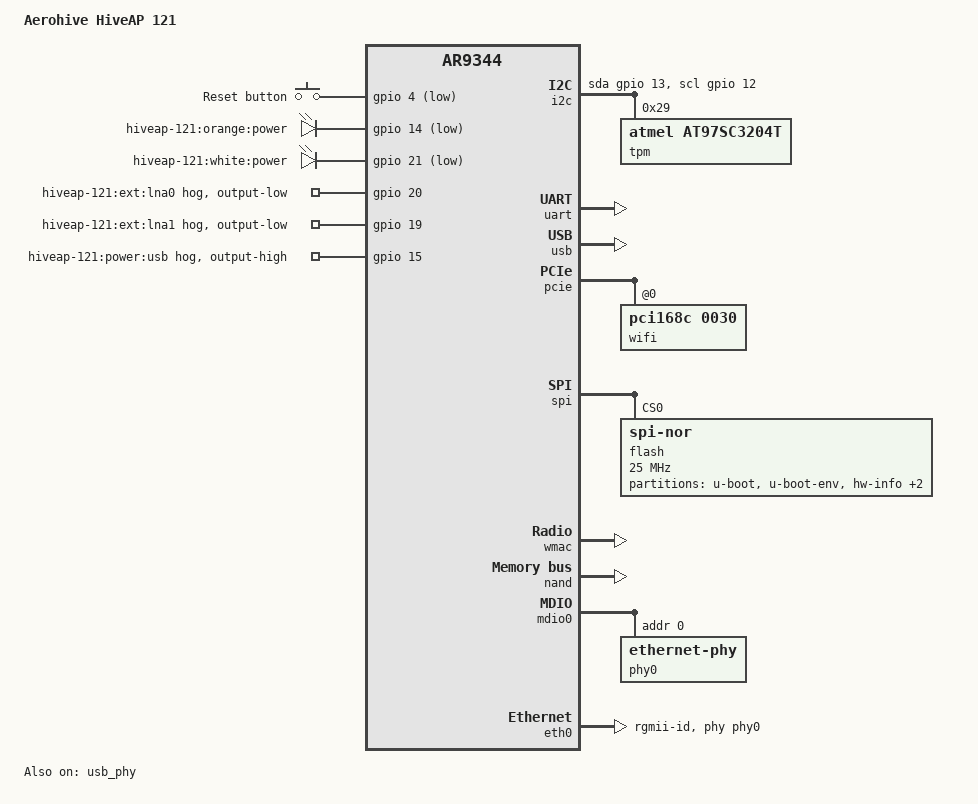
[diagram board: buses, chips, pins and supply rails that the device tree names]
// SPDX-License-Identifier: GPL-2.0-only

#include "ar9344.dtsi"

#include <dt-bindings/gpio/gpio.h>
#include <dt-bindings/input/input.h>

/ {
	compatible = "aerohive,hiveap-121", "qca,ar9344";
	model = "Aerohive HiveAP 121";

	aliases {
		led-boot = &led_power_white;
		led-failsafe = &led_power_orange;
		led-running = &led_power_white;
		led-upgrade = &led_power_orange;
		label-mac-device = &eth0;
	};

	chosen {
		bootargs = "console=ttyS0,9600";
	};

	keys {
		compatible = "gpio-keys";

		reset {
			label = "Reset button";
			linux,code = <KEY_RESTART>;
			gpios = <&gpio 4 GPIO_ACTIVE_LOW>;
			debounce-interval = <60>;
		};
	};

	leds {
		compatible = "gpio-leds";

		led_power_orange: power_orange {
			label = "hiveap-121:orange:power";
			gpios = <&gpio 14 GPIO_ACTIVE_LOW>;
		};

		led_power_white: power_white {
			label = "hiveap-121:white:power";
			gpios = <&gpio 21 GPIO_ACTIVE_LOW>;
		};
	};

	i2c {
		compatible = "i2c-gpio";
		gpios = <&gpio 13 GPIO_ACTIVE_HIGH /* sda */
			 &gpio 12 GPIO_ACTIVE_HIGH /* scl */
			>;
		#address-cells = <1>;
		#size-cells = <0>;

		tpm@29 {
			compatible = "atmel,at97sc3204t";
			reg = <0x29>;
		};
	};
};

&ref {
	clock-frequency = <40000000>;
};

&uart {
	status = "okay";
};

&gpio {
	pinctrl-names = "default";
	pinctrl-0 = <&jtag_disable_pins>;

	gpio_ext_lna0 {
		gpio-hog;
		gpios = <20 0>;
		output-low;
		line-name = "hiveap-121:ext:lna0";
	};

	gpio_ext_lna1 {
		gpio-hog;
		gpios = <19 0>;
		output-low;
		line-name = "hiveap-121:ext:lna1";
	};

	gpio_usb_power {
		gpio-hog;
		gpios = <15 0>;
		output-high;
		line-name = "hiveap-121:power:usb";
	};
};

&usb {
	status = "okay";
};

&usb_phy {
	status = "okay";
};

&pcie {
	status = "okay";

	wifi@0,0 {
		compatible = "pci168c,0030";
		reg = <0x0000 0 0 0 0>;

		mtd-mac-address = <&hw_info 0x0>;
		mtd-mac-address-increment = <2>;
	};
};

&spi {
	status = "okay";

	num-cs = <1>;

	flash@0 {
		compatible = "jedec,spi-nor";
		reg = <0>;
		spi-max-frequency = <25000000>;

		partitions {
			compatible = "fixed-partitions";
			#address-cells = <1>;
			#size-cells = <1>;

			partition@0 {
				label = "u-boot";
				reg = <0x000000 0x80000>;
				read-only;
			};

			partition@80000 {
				label = "u-boot-env";
				reg = <0x80000 0x10000>;
				read-only;
			};

			hw_info: partition@90000 {
				label = "hw-info";
				reg = <0x90000 0x10000>;
				read-only;
			};

			partition@a0000 {
				label = "boot-info";
				reg = <0xa0000 0x10000>;
				read-only;
			};

			partition@b0000 {
				label = "boot-sinfo";
				reg = <0xb0000 0x10000>;
				read-only;
			};
		};
	};
};

&wmac {
	status = "okay";

	mtd-mac-address = <&hw_info 0x0>;
	mtd-mac-address-increment = <1>;
};

&nand {
	status = "okay";

	partitions {
		compatible = "fixed-partitions";
		#address-cells = <1>;
		#size-cells = <1>;

		partition@0 {
			label = "u-boot1";
			reg = <0x0 0x400000>;
			read-only;
		};

		partition@400000 {
			label = "u-boot-env1";
			reg = <0x400000 0x400000>;
			read-only;
		};

		partition@800000 {
			label = "kernel";
			reg = <0x800000 0x500000>;
		};

		partition@d00000 {
			label = "ubi";
			reg = <0xd00000 0x6f00000>;
		};

		partition@2e00000 {
			label = "wifi-info";
			reg = <0x7c00000 0x400000>;
			read-only;
		};
	};
};

&mdio0 {
	status = "okay";

	phy0: ethernet-phy@0 {
		reg = <0>;
	};
};

&eth0 {
	status = "okay";

	pll-data = <0x06000000 0x00000101 0x00001313>;

	mtd-mac-address = <&hw_info 0x0>;

	phy-mode = "rgmii-id";
	phy-handle = <&phy0>;

	gmac-config {
		device = <&gmac>;
		rgmii-gmac0 = <1>;
		rxd-delay = <1>;
		rxdv-delay = <1>;
	};
};
